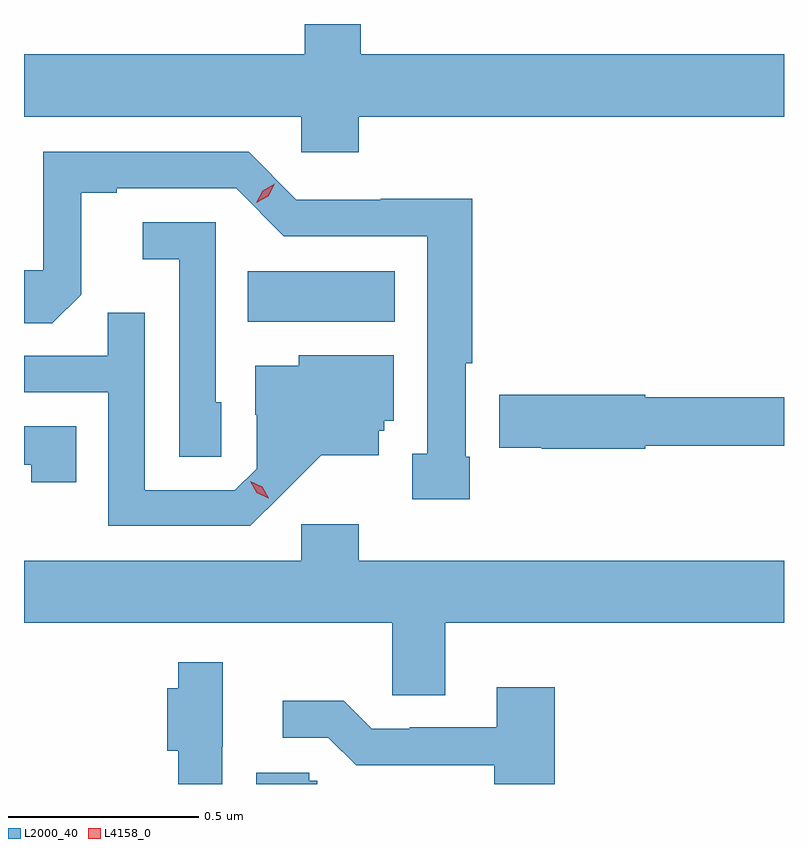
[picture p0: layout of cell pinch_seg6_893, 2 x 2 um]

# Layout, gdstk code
import gdstk
lib = gdstk.Library(unit=1e-6, precision=1e-09)
def R(c, l, rs):  # rectangles x0, y0, x1, y1
    for r in rs: c.add(gdstk.rectangle(r[:2], r[2:], *l))
def P(c, l, *ps):  # polygons
    for p in ps: c.add(gdstk.Polygon(p, *l))
L2000_40 = (2000, 40)
L4158_0 = (4158, 0)

pinch_seg6_893 = lib.new_cell('pinch_seg6_893')
R(pinch_seg6_893, L2000_40, [(144.25,989.42,144.637,989.554)])
P(pinch_seg6_893, L2000_40, [(144.542,989.96),(145.661,989.96),(145.661,990.124),(144.547,990.124),(144.547,990.204),(144.4,990.204),(144.4,990.124),(143.661,990.124),(143.661,989.96),(144.39,989.96),(144.39,989.867),(144.542,989.867)],
  [(144.834,989.065),(144.823,989.065),(144.823,989.311),(144.841,989.311),(144.841,989.744),(144.6,989.744),(144.6,989.742),(144.378,989.742),(144.252,989.868),(143.712,989.868),(143.712,989.556),(143.661,989.556),(143.661,989.416),(143.735,989.416),(143.811,989.492),(143.811,989.76),(143.905,989.76),(143.905,989.772),(144.219,989.772),(144.345,989.646),(144.722,989.646),(144.722,989.073),(144.683,989.073),(144.683,988.953),(144.834,988.953)],
  [(144.18,989.208),(144.165,989.208),(144.165,989.682),(143.973,989.682),(143.973,989.585),(144.069,989.585),(144.069,989.065),(144.18,989.065)],
  [(144.34,988.967),(144.443,989.069),(144.595,989.069),(144.595,989.133),(144.609,989.133),(144.609,989.16),(144.634,989.16),(144.634,989.332),(144.384,989.332),(144.384,989.305),(144.269,989.305),(144.269,989.176),(144.273,989.176),(144.273,989.034),(144.216,988.977),(143.979,988.977),(143.979,989.444),(143.881,989.444),(143.881,989.331),(143.661,989.331),(143.661,989.235),(143.883,989.235),(143.883,988.884),(144.256,988.884)],
  [(145.296,989.094),(145.661,989.094),(145.661,989.222),(145.296,989.222),(145.296,989.228),(144.912,989.228),(144.912,989.089),(145.024,989.089),(145.024,989.086),(145.296,989.086)],
  [(143.798,989.145),(143.661,989.145),(143.661,989.044),(143.68,989.044),(143.68,988.998),(143.798,988.998)],
  [(144.769,988.628),(145.661,988.628),(145.661,988.792),(144.542,988.792),(144.542,988.888),(144.39,988.888),(144.39,988.792),(143.661,988.792),(143.661,988.628),(144.63,988.628),(144.63,988.438),(144.769,988.438)],
  [(144.183,988.302),(144.184,988.302),(144.184,988.525),(144.067,988.525),(144.067,988.456),(144.038,988.456),(144.038,988.291),(144.067,988.291),(144.067,988.204),(144.183,988.204)],
  [(145.058,988.459),(144.905,988.459),(144.905,988.353),(144.676,988.353),(144.676,988.35),(144.576,988.35),(144.503,988.423),(144.342,988.423),(144.342,988.326),(144.462,988.326),(144.535,988.253),(144.634,988.253),(144.634,988.254),(144.898,988.254),(144.898,988.204),(145.058,988.204)],
  [(144.433,988.212),(144.411,988.212),(144.411,988.233),(144.272,988.233),(144.272,988.204),(144.433,988.204)])
P(pinch_seg6_893, L4158_0, [(144.272,989.733),(144.272,989.733),(144.289,989.765),(144.321,989.784),(144.321,989.784),(144.321,989.784),(144.304,989.751),(144.272,989.733)],
  [(144.304,988.956),(144.274,988.971),(144.257,989.001),(144.257,989.001),(144.257,989.001),(144.288,988.986),(144.305,988.956),(144.305,988.956)])

lib.write_gds('pinch_seg6_893.gds')
